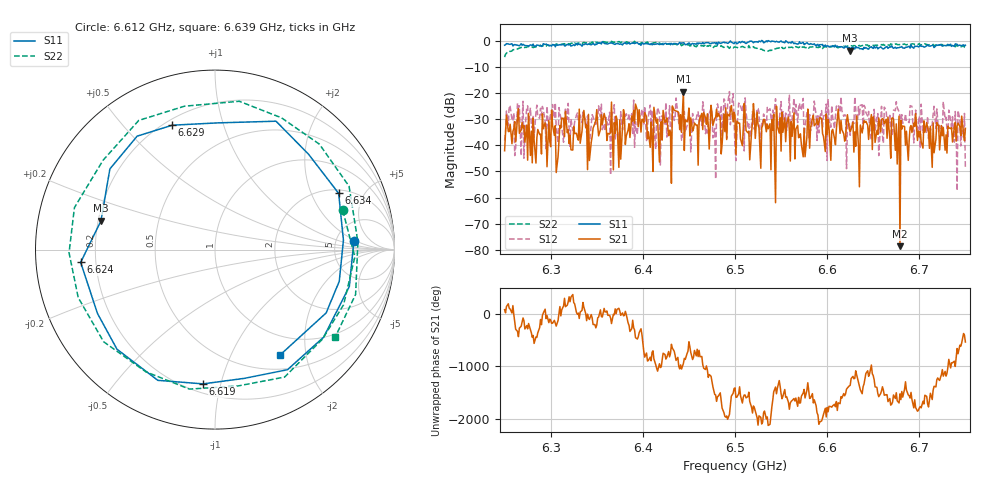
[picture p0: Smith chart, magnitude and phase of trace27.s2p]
# Hz S RI R 50
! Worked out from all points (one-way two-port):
!   401 points, 6.25 GHz to 6.75 GHz, reference 50 ohm
!   highest |S21| = -19.40 dB at 6.444 GHz (marker M1); lowest = -78.7 dB at 6.679 GHz (marker M2)
!   lowest |S11| = -3.7 dB at 6.625 GHz (marker M3), VSWR 4.80, Z = 10.6 + j5.94 ohm
!   |S11| at or under -10 dB: nowhere
!   |S22| runs from -6.2 to -0.1 dB; largest |S21 - S12| = 0.14
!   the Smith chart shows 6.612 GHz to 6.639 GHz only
!   S11 on the Smith chart (normalised r, x): 6.612 GHz: 7.48, +1.72; 6.619 GHz: 0.26, -0.88; 6.624 GHz: 0.14, -0.05; 6.629 GHz: 0.23, +0.69; 6.634 GHz: 2.19, +3.21; 6.639 GHz: 0.69, -1.56
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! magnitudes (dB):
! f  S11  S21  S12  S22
! 6.25 GHz  -1.6  -42.1  -38.2  -6.2
! 6.334 GHz  -1.9  -34.6  -31.4  -0.9
! 6.342 GHz  -1.2  -45.8  -39.9  -0.9
! 6.358 GHz  -0.7  -27.8  -31.7  -0.3
! 6.418 GHz  -1.3  -46.4  -27.7  -0.7
! 6.444 GHz  -0.6  -19.4  -34.7  -1.2
! 6.478 GHz  -0.6  -29.6  -33.5  -1.9
! 6.495 GHz  0.1  -26.6  -32.1  -2.3
! 6.5 GHz  -0.4  -28.5  -40.7  -2.3
! 6.506 GHz  -0.6  -37.5  -24.9  -2.3
! 6.584 GHz  -1.2  -29.6  -31.6  -2.2
! 6.612 GHz  -2.2  -26.1  -24.3  -2.6
! 6.619 GHz  -2.5  -38.4  -28.3  -2.3
! 6.624 GHz  -2.5  -33.8  -31.2  -1.9
! 6.625 GHz  -3.7  -34.7  -36.1  -1.8
! 6.629 GHz  -2.7  -42.6  -31.6  -1.6
! 6.634 GHz  -2.4  -40.1  -25.1  -1.7
! 6.639 GHz  -3.2  -32.4  -33.6  -1.6
! 6.668 GHz  -2.2  -37.3  -28.5  -1.5
! 6.679 GHz  -2.4  -78.7  -28.5  -1.3
! 6.694 GHz  -2.7  -31.5  -39.0  -1.1
! 6.75 GHz  -1.6  -33.5  -48.8  -2.2
